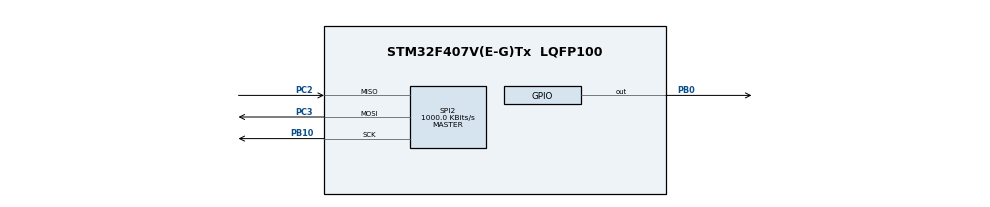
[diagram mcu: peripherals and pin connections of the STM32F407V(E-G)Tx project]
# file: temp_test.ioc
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Mcu.Family=STM32F4
Mcu.Name=STM32F407V(E-G)Tx
Mcu.Package=LQFP100
NVIC.PriorityGroup=NVIC_PRIORITYGROUP_4
PB0.PinState=GPIO_PIN_SET
PB0.Signal=GPIO_Output
PB10.GPIO_PuPd=GPIO_NOPULL
PB10.Mode=Full_Duplex_Master
PB10.Signal=SPI2_SCK
PC2.GPIO_PuPd=GPIO_NOPULL
PC2.Mode=Full_Duplex_Master
PC2.Signal=SPI2_MISO
PC3.Mode=Full_Duplex_Master
PC3.Signal=SPI2_MOSI
ProjectManager.HeapSize=0x200
ProjectManager.StackSize=0x400
ProjectManager.TargetToolchain=STM32CubeIDE
RCC.AHBFreq_Value=16000000
RCC.APB1Freq_Value=16000000
RCC.APB2Freq_Value=16000000
RCC.CortexFreq_Value=16000000
RCC.HSE_VALUE=25000000
RCC.HSI_VALUE=16000000
RCC.LSE_VALUE=32768
RCC.SYSCLKFreq_VALUE=16000000
RCC.VCOOutputFreq_Value=192000000
SPI2.BaudRatePrescaler=SPI_BAUDRATEPRESCALER_16
SPI2.CLKPhase=SPI_PHASE_2EDGE
SPI2.CLKPolarity=SPI_POLARITY_HIGH
SPI2.CalculateBaudRate=1000.0 KBits/s
SPI2.DataSize=SPI_DATASIZE_8BIT
SPI2.Direction=SPI_DIRECTION_2LINES
SPI2.Mode=SPI_MODE_MASTER
SPI2.VirtualType=VM_MASTER
TIM2.Period=16
VP_TIM2_VS_ClockSourceINT.Mode=Internal
board=custom

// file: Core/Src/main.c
/* USER CODE BEGIN Header */
/**
  ******************************************************************************
  * @file           : main.c
  * @brief          : Main program body
  ******************************************************************************
  * @attention
  *
  * Copyright (c) 2022 STMicroelectronics.
  * All rights reserved.
  *
  * This software is licensed under terms that can be found in the LICENSE file
  * in the root directory of this software component.
  * If no LICENSE file comes with this software, it is provided AS-IS.
  *
  ******************************************************************************
  */
/* USER CODE END Header */
#include "main.h"
#include "spi.h"
#include "tim.h"
#include "gpio.h"

void SystemClock_Config(void);
/* USER CODE BEGIN PFP */
void collect_sample_LL(uint8_t *rx_buffer);
void collect_sample_DRA(uint8_t *rx_buffer);

void wait_for_10_ms();
static inline void wait_for_10_us();
/* USER CODE END PFP */

int main(void)
{

  /* MCU Configuration--------------------------------------------------------*/

  /* Reset of all peripherals, Initializes the Flash interface and the Systick. */
  LL_APB2_GRP1_EnableClock(LL_APB2_GRP1_PERIPH_SYSCFG);
  LL_APB1_GRP1_EnableClock(LL_APB1_GRP1_PERIPH_PWR);

  /* System interrupt init*/
  NVIC_SetPriorityGrouping(NVIC_PRIORITYGROUP_4);

  /* SysTick_IRQn interrupt configuration */
  NVIC_SetPriority(SysTick_IRQn, NVIC_EncodePriority(NVIC_GetPriorityGrouping(),15, 0));

  /* Configure the system clock */
  SystemClock_Config();

  /* Initialize all configured peripherals */
  MX_GPIO_Init();
  MX_SPI2_Init();
  MX_TIM2_Init();
  /* USER CODE BEGIN 2 */
  uint8_t rx_buffer[2];
  float temperature;
  /* USER CODE END 2 */

  /* Infinite loop */
  while (1)
  {

    /* USER CODE BEGIN 3 */
	//	HAL_Delay(10);
	//	HAL_GPIO_WritePin(GPIOB, GPIO_PIN_0, GPIO_PIN_RESET);
	//	HAL_SPI_Receive(&hspi2, rx_buffer, 2, 1);
	//	HAL_GPIO_WritePin(GPIOB, GPIO_PIN_0, GPIO_PIN_SET);

	wait_for_10_ms();

	collect_sample_LL(rx_buffer);
	// collect_sample_DRA(rx_buffer);

	int16_t tmp = (rx_buffer[0] << 8) | rx_buffer[1];

	if ((tmp & (1 << 13)) != 0) {
		tmp -= 16384;
	}
	temperature = (float)tmp;
	temperature /= 32.;
  }
  /* USER CODE END 3 */
}

void SystemClock_Config(void)
{
  LL_FLASH_SetLatency(LL_FLASH_LATENCY_0);
  while(LL_FLASH_GetLatency()!= LL_FLASH_LATENCY_0)
  {
  }
  LL_PWR_SetRegulVoltageScaling(LL_PWR_REGU_VOLTAGE_SCALE1);
  LL_RCC_HSI_SetCalibTrimming(16);
  LL_RCC_HSI_Enable();

   /* Wait till HSI is ready */
  while(LL_RCC_HSI_IsReady() != 1)
  {

  }
  LL_RCC_SetAHBPrescaler(LL_RCC_SYSCLK_DIV_1);
  LL_RCC_SetAPB1Prescaler(LL_RCC_APB1_DIV_1);
  LL_RCC_SetAPB2Prescaler(LL_RCC_APB2_DIV_1);
  LL_RCC_SetSysClkSource(LL_RCC_SYS_CLKSOURCE_HSI);

   /* Wait till System clock is ready */
  while(LL_RCC_GetSysClkSource() != LL_RCC_SYS_CLKSOURCE_STATUS_HSI)
  {

  }
  LL_Init1msTick(16000000);
  LL_SetSystemCoreClock(16000000);
}

/* USER CODE BEGIN 4 */
void collect_sample_DRA(uint8_t *rx_buffer) {
	WRITE_REG(GPIOB->BSRR, (LL_GPIO_PIN_0 << 16)); // \CS low
	wait_for_10_us();
	SET_BIT(SPI2->CR1, SPI_CR1_SPE); // SPI enable

	SPI2->DR = 0x00; // dummy write
	while ( !READ_BIT(SPI2->SR, SPI_SR_TXE) ); // wait until TXE is set
	SPI2->DR = 0x00; // dummy write
	while ( !READ_BIT(SPI2->SR, SPI_SR_RXNE) ); // wait until RXNE is set
	rx_buffer[0] = SPI2->DR; // read DR (clears RXNE)

	while ( !READ_BIT(SPI2->SR, SPI_SR_RXNE) ); // wait until RXNE is set
	rx_buffer[1] = SPI2->DR; // read DR (clears RXNE)

	while ( !READ_BIT(SPI2->SR, SPI_SR_TXE) ); // wait until TXE is set
	while ( READ_BIT(SPI2->SR, SPI_SR_BSY) ); // wait until BSY is reset

	CLEAR_BIT(SPI2->CR1, SPI_CR1_SPE); // SPI disable
	wait_for_10_us();
	WRITE_REG(GPIOB->BSRR, (LL_GPIO_PIN_0)); // \CS high
}

void collect_sample_LL(uint8_t *rx_buffer) {
	LL_GPIO_ResetOutputPin(GPIOB, LL_GPIO_PIN_0); // \CS low
	wait_for_10_us();
	LL_SPI_Enable(SPI2);

	LL_SPI_TransmitData8(SPI2, 0x00); // dummy write
	while ( !LL_SPI_IsActiveFlag_TXE(SPI2) ); // wait until TXE is set
	LL_SPI_TransmitData8(SPI2, 0x00); // dummy write
	while ( !LL_SPI_IsActiveFlag_RXNE(SPI2) ); // wait until RXNE is set
	rx_buffer[0] = LL_SPI_ReceiveData8(SPI2); // read DR (clears RXNE)

	wait_for_10_us();
	while ( !LL_SPI_IsActiveFlag_RXNE(SPI2) ); // wait until RXNE is set
	rx_buffer[1] = LL_SPI_ReceiveData8(SPI2); // read DR (clears RXNE)

	while ( !LL_SPI_IsActiveFlag_TXE(SPI2) ); // wait until TXE is set
	while ( LL_SPI_IsActiveFlag_BSY(SPI2) ); // wait until BSY is reset

	LL_SPI_Disable(SPI2); // SPI disable
	wait_for_10_us();
	LL_GPIO_SetOutputPin(GPIOB, LL_GPIO_PIN_0); // \CS high
}

static inline void wait_for_10_us() {
	// 16 MHz APB1 clock before timer prescaler
	LL_TIM_SetPrescaler(TIM2, 1); // 1 MHz after prescaler
	LL_TIM_SetAutoReload(TIM2, 1); // set auto-reload value
	LL_TIM_GenerateEvent_UPDATE(TIM2); // generate update event
	LL_TIM_ClearFlag_UPDATE(TIM2);
	LL_TIM_EnableCounter(TIM2); // enable counter
	while ( !LL_TIM_IsActiveFlag_UPDATE(TIM2) ); // wait for update flag
	LL_TIM_ClearFlag_UPDATE(TIM2); // clear update flag
}

void wait_for_10_ms() {
	// 16 MHz APB1 clock before timer prescaler
	LL_TIM_SetPrescaler(TIM2, 16); // 1 MHz after prescaler
	LL_TIM_SetAutoReload(TIM2, 10000); // set auto-reload value
	LL_TIM_GenerateEvent_UPDATE(TIM2); // generate update event
	LL_TIM_ClearFlag_UPDATE(TIM2);
	LL_TIM_EnableCounter(TIM2); // enable counter
	while ( !LL_TIM_IsActiveFlag_UPDATE(TIM2) ); // wait for update flag
	LL_TIM_ClearFlag_UPDATE(TIM2); // clear update flag
}
/* USER CODE END 4 */

void Error_Handler(void)
{
  __disable_irq();
  while (1)
  {
  }
}
